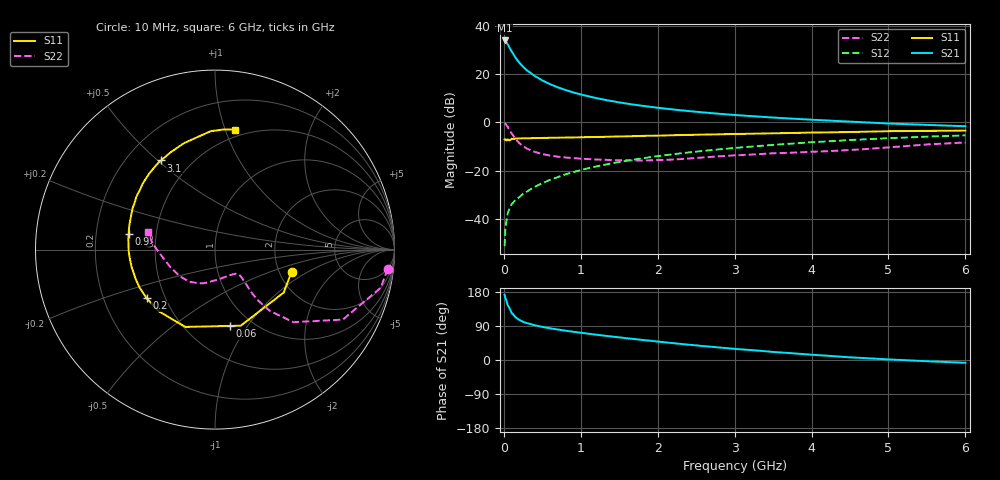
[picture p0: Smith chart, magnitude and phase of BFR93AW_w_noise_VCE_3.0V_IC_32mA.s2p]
! Infineon Technologies  Discrete & RF Semiconductors
! BFR93AW
! VCE =  3.0 V,  IC =  32 mA
! Common Emitter S-Parameters:  Jan 2017
# GHz  S  MA  R  50
!  f  S11  S21  S12  S22
! GHz  MAG  ANG  MAG  ANG  MAG  ANG  MAG  ANG
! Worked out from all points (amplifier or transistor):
!   77 points, 10 MHz to 6 GHz, reference 50 ohm
!   highest |S21| = 34.1 dB at 10 MHz (marker M1)
!   |S21| within 3 dB of that: start of sweep to 74.17 MHz
!   unconditionally stable (mu >= 1): 497.6 MHz to 2.09 GHz
!   at 130 MHz: K = 0.57, MSG = 30.5 dB, |S12| = -32.9 dB
!   at 2.2 GHz: K = 0.99, MSG = 9.3 dB, |S12| = -13.2 dB
!   at 6 GHz: K = 0.90, MSG = 1.9 dB, |S12| = -5.3 dB
!   lowest NFmin = 1.86 dB at 450 MHz
!   S11 on the Smith chart (normalised r, x): 10 MHz: 2.33, -0.72; 60 MHz: 0.79, -0.83; 200 MHz: 0.39, -0.27; 900 MHz: 0.35, +0.08; 3.1 GHz: 0.34, +0.51; 6 GHz: 0.44, +1.08
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0.01  0.4444 -16.2  50.58 171.9  0.0027 80.2  0.9689 -6.4
0.02  0.4515 -32.0  50.03 164.3  0.0059 80.8  0.9471 -13.0
0.05  0.4476 -71.3  42.18 144.7  0.0129 66.1  0.8121 -28.7
0.06  0.4331 -79.1  39.45 141.6  0.0143 64.8  0.7657 -30.9
0.1  0.4616 -111.1  30.13 124.3  0.0199 61.5  0.5952 -42.8
0.15  0.4648 -132.3  22.37 113.0  0.0244 58.5  0.4573 -48.2
0.2  0.4675 -144.7  17.54 105.9  0.0281 60.9  0.3756 -49.7
0.25  0.4706 -153.5  14.37 100.8  0.0331 61.9  0.3233 -49.7
0.3  0.4713 -159.6  12.12 97.2  0.0367 63.9  0.2873 -49.0
0.4  0.4747 -168.2  9.265 91.6  0.0459 66.9  0.2453 -47.5
0.5  0.4776 -174.4  7.462 87.3  0.0548 68.6  0.2209 -46.6
0.6  0.4814 -179.6  6.272 83.7  0.0645 69.1  0.2057 -46.1
0.7  0.4828 176.6  5.394 80.5  0.0732 70.3  0.1952 -46.0
0.9  0.489 169.5  4.222 74.6  0.093 70.4  0.1825 -48.2
1.1  0.4971 163.4  3.497 69.4  0.1126 70.0  0.174 -51.4
1.3  0.5037 158.2  2.984 64.4  0.1317 69.1  0.1686 -56.0
1.5  0.5137 153.4  2.615 59.7  0.151 68.0  0.1637 -62.3
2.1  0.5381 140.1  1.943 46.6  0.2096 63.3  0.1676 -84.8
3.1  0.5805 121.2  1.398 27.9  0.3051 53.6  0.2112 -118.2
4.1  0.6204 104.6  1.123 12.6  0.397 43.1  0.2495 -146.8
5.1  0.6616 90.9  0.94 0.6  0.4785 31.9  0.3124 -177.2
6  0.6781 80.5  0.837 -7.4  0.5404 21.9  0.3853 165.6
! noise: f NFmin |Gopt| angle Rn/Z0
0.45  1.86  0.19  175  0.16
0.9  2.12  0.26  -174  0.16
1.9  3.16  0.51  -135  0.3
2.4  3.82  0.56  -124  0.57
